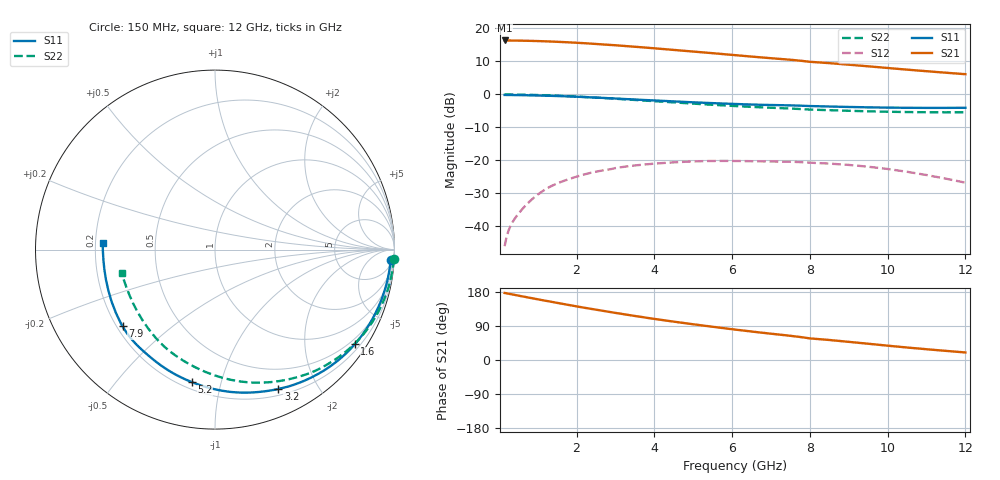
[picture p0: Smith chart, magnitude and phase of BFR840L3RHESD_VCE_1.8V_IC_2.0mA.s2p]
! Infineon Technologies  Discrete & RF Semiconductors
! BFR840L3RHESD
! VCE =  1.8 V,  IC =  2.0 mA
! Common Emitter S-Parameters:  Jun 2012
# GHz  S  MA  R  50
!  f  S11  S21  S12  S22
! GHz  MAG  ANG  MAG  ANG  MAG  ANG  MAG  ANG
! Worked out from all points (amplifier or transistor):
!   91 points, 150 MHz to 12 GHz, reference 50 ohm
!   highest |S21| = 16.4 dB at 150 MHz (marker M1)
!   |S21| within 3 dB of that: start of sweep to 4.633 GHz
!   unconditionally stable (mu >= 1): 10.07 GHz to end of sweep
!   at 1.3 GHz: K = 0.07, MSG = 22.1 dB, |S12| = -28.1 dB
!   at 4.3 GHz: K = 0.20, MSG = 17.2 dB, |S12| = -20.8 dB
!   at 12 GHz: K = 2.09, MAG = 10.5 dB, |S12| = -26.8 dB
!   S11 on the Smith chart (normalised r, x): 150 MHz: 11, -31; 1.6 GHz: 0.35, -3.23; 3.2 GHz: 0.27, -1.52; 5.2 GHz: 0.24, -0.81; 7.9 GHz: 0.22, -0.35; 12 GHz: 0.23, +0.03
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0.15  0.9806 -3.3  6.571 176.9  0.005 83.6  0.9977 -3.0
0.2  0.9799 -4.4  6.566 176.0  0.0069 82.7  0.9969 -4.0
0.3  0.9784 -6.6  6.557 174.0  0.0101 82.4  0.9955 -5.9
0.6  0.9727 -13.2  6.517 168.0  0.0181 79.4  0.9898 -11.6
1.1  0.9588 -23.7  6.405 158.3  0.0333 70.4  0.9737 -20.9
1.6  0.9404 -34.1  6.232 148.9  0.0471 62.9  0.9506 -30.1
2.2  0.9108 -46.5  5.97 137.9  0.0612 53.6  0.9137 -40.8
2.7  0.883 -56.1  5.702 129.4  0.0707 46.0  0.8808 -49.3
3  0.8655 -61.8  5.566 124.3  0.0764 41.0  0.8597 -54.1
3.2  0.8529 -65.5  5.44 121.1  0.0795 39.0  0.8444 -57.4
3.6  0.8302 -72.8  5.22 114.6  0.0849 33.8  0.816 -63.8
4.2  0.7988 -83.4  4.887 105.6  0.0908 26.4  0.7756 -72.9
4.7  0.773 -91.8  4.616 98.4  0.0946 20.2  0.7432 -80.2
5.2  0.7494 -99.9  4.36 91.6  0.0971 14.4  0.7124 -87.3
6.1  0.7148 -113.8  3.924 80.0  0.0977 5.1  0.6645 -99.6
7  0.6903 -126.6  3.538 69.4  0.0962 -3.0  0.6276 -111.2
7.9  0.6694 -140.3  3.17 58.6  0.0931 -11.8  0.5931 -123.6
8  0.6656 -142.2  3.119 57.0  0.0922 -13.2  0.5884 -125.3
8.5  0.655 -147.5  2.977 52.8  0.0893 -17.1  0.5761 -130.2
9.5  0.6363 -159.0  2.665 42.9  0.0801 -26.2  0.5538 -141.2
10.5  0.6262 -169.9  2.373 33.0  0.0671 -34.6  0.5398 -152.1
12  0.6266 176.8  2.024 19.9  0.0459 -40.6  0.5366 -166.1
